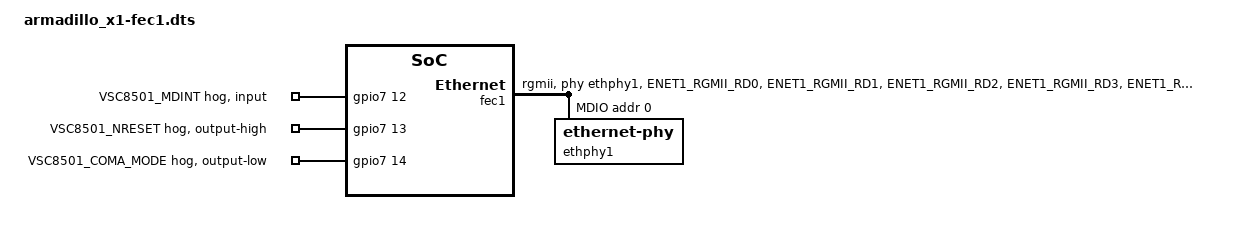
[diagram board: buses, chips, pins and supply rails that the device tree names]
/*
 * Copyright (C) 2018 Atmark Techno, Inc. All Rights Reserved.
 *
 * This program is free software; you can redistribute it and/or modify
 * it under the terms of the GNU General Public License version 2 as
 * published by the Free Software Foundation.
 */

#include "armadillo_x1.dts"

/*
 * CON8_24: ENET1_RGMII_RD0
 * CON8_25: ENET1_RGMII_RD1
 * CON8_26: ENET1_RGMII_RD2
 * CON8_27: ENET1_RGMII_RD3
 * CON8_28: ENET1_RGMII_RX_CTL
 * CON8_29: ENET1_RGMII_RXC
 *
 * CON8_30: ENET1_RGMII_TD0
 * CON8_31: ENET1_RGMII_TD1
 * CON8_32: ENET1_RGMII_TD2
 * CON8_33: ENET1_RGMII_TD3
 * CON8_34: ENET1_RGMII_TX_CTL
 * CON8_35: ENET1_RGMII_TXC
 *
 * CON8_36: GPIO7_IO12(VSC8501_MDINT, have external pull-up)
 * CON8_37: GPIO7_IO13(VSC8501_NRESET)
 * CON8_38: GPIO7_IO14(VSC8501_COMA_MODE)
 *
 * CON8_69: ENET1_MDC
 * CON8_70: ENET1_MDIO(have external pull-up)
 */
&iomuxc {
	x1_ext {
		pinctrl_enet1: enet1grp {
			fsl,pins = <
				MX7D_PAD_ENET1_RGMII_RD0__ENET1_RGMII_RD0	0x01
				MX7D_PAD_ENET1_RGMII_RD1__ENET1_RGMII_RD1	0x01
				MX7D_PAD_ENET1_RGMII_RD2__ENET1_RGMII_RD2	0x01
				MX7D_PAD_ENET1_RGMII_RD3__ENET1_RGMII_RD3	0x01
				MX7D_PAD_ENET1_RGMII_RX_CTL__ENET1_RGMII_RX_CTL	0x01
				MX7D_PAD_ENET1_RGMII_RXC__ENET1_RGMII_RXC	0x01

				MX7D_PAD_ENET1_RGMII_TD0__ENET1_RGMII_TD0	0x01
				MX7D_PAD_ENET1_RGMII_TD1__ENET1_RGMII_TD1	0x01
				MX7D_PAD_ENET1_RGMII_TD2__ENET1_RGMII_TD2	0x01
				MX7D_PAD_ENET1_RGMII_TD3__ENET1_RGMII_TD3	0x01
				MX7D_PAD_ENET1_RGMII_TX_CTL__ENET1_RGMII_TX_CTL	0x01
				MX7D_PAD_ENET1_RGMII_TXC__ENET1_RGMII_TXC	0x01

				MX7D_PAD_ENET1_TX_CLK__GPIO7_IO12	0x00 /* VSC8501_MDINT */
				MX7D_PAD_ENET1_RX_CLK__GPIO7_IO13	0x00 /* VSC8501_NRESET */
				MX7D_PAD_ENET1_CRS__GPIO7_IO14		0x00 /* VSC8501_COMA_MODE */

				MX7D_PAD_SD2_WP__ENET1_MDC		0x00
				MX7D_PAD_SD2_CD_B__ENET1_MDIO		0x00
			>;
		};
	};
};

&fec1 {
	pinctrl-names = "default";
	pinctrl-0 = <&pinctrl_enet1>;
	assigned-clocks = <&clks IMX7D_ENET1_TIME_ROOT_SRC>,
			  <&clks IMX7D_ENET1_TIME_ROOT_CLK>;
	assigned-clock-parents = <&clks IMX7D_PLL_ENET_MAIN_100M_CLK>;
	assigned-clock-rates = <0>, <100000000>;
	phy-mode = "rgmii";
	phy-handle = <&ethphy1>;
	fsl,magic-packet;
	fsl,mii-exclusive;
	no-mac-init;
	status = "okay";

	mdio {
		#address-cells = <1>;
		#size-cells = <0>;

		ethphy1: ethernet-phy@0 {
			reg = <0>;
		};
	};
};

&gpio7 {
	/* MDINT is unused in MAC/PHY driver. */
	vsc8501_mdint {
		gpio-hog;
		gpios = <12 GPIO_ACTIVE_HIGH>;
		input;
		line-name = "VSC8501_MDINT";
	};

	/* Reset is NOT asserted. */
	vsc8501_nreset {
		gpio-hog;
		gpios = <13 GPIO_ACTIVE_HIGH>;
		output-high;
		line-name = "VSC8501_NRESET";
	};

	/* PHY is powered up. */
	vsc8501_coma_mode {
		gpio-hog;
		gpios = <14 GPIO_ACTIVE_HIGH>;
		output-low;
		line-name = "VSC8501_COMA_MODE";
	};
};
